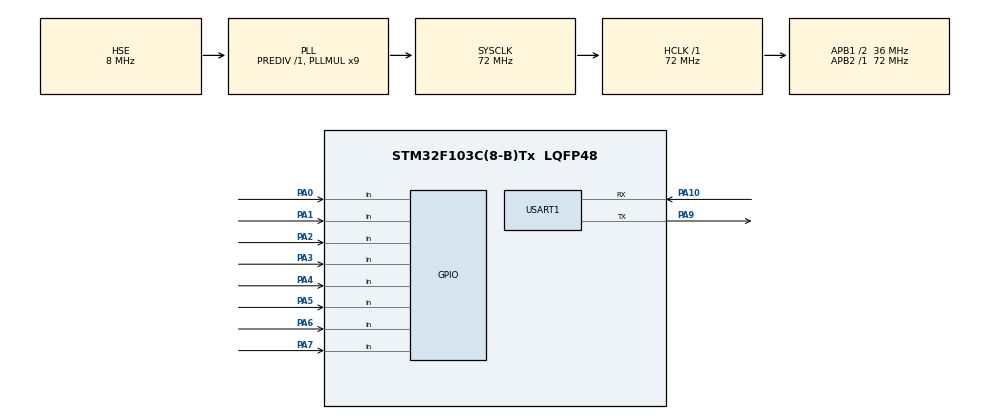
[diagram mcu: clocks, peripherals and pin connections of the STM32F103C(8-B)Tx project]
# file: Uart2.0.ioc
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Mcu.Family=STM32F1
Mcu.Name=STM32F103C(8-B)Tx
Mcu.Package=LQFP48
NVIC.PriorityGroup=NVIC_PRIORITYGROUP_4
PA0-WKUP.GPIO_PuPd=GPIO_PULLDOWN
PA0-WKUP.Signal=GPIO_Input
PA1.GPIO_PuPd=GPIO_PULLDOWN
PA1.Signal=GPIO_Input
PA10.Mode=Asynchronous
PA10.Signal=USART1_RX
PA13.Mode=Serial_Wire
PA13.Signal=SYS_JTMS-SWDIO
PA14.Mode=Serial_Wire
PA14.Signal=SYS_JTCK-SWCLK
PA2.GPIO_PuPd=GPIO_PULLDOWN
PA2.Signal=GPIO_Input
PA3.GPIO_PuPd=GPIO_PULLDOWN
PA3.Signal=GPIO_Input
PA4.GPIO_PuPd=GPIO_PULLDOWN
PA4.Signal=GPIO_Input
PA5.GPIO_PuPd=GPIO_PULLDOWN
PA5.Signal=GPIO_Input
PA6.GPIO_PuPd=GPIO_PULLDOWN
PA6.Signal=GPIO_Input
PA7.GPIO_PuPd=GPIO_PULLDOWN
PA7.Signal=GPIO_Input
PA9.Mode=Asynchronous
PA9.Signal=USART1_TX
PD0-OSC_IN.Mode=HSE-External-Oscillator
PD0-OSC_IN.Signal=RCC_OSC_IN
PD1-OSC_OUT.Mode=HSE-External-Oscillator
PD1-OSC_OUT.Signal=RCC_OSC_OUT
ProjectManager.HeapSize=0x200
ProjectManager.StackSize=0x400
ProjectManager.TargetToolchain=MDK-ARM V5.32
RCC.AHBFreq_Value=72000000
RCC.APB1CLKDivider=RCC_HCLK_DIV2
RCC.APB1Freq_Value=36000000
RCC.APB1TimFreq_Value=72000000
RCC.APB2Freq_Value=72000000
RCC.APB2TimFreq_Value=72000000
RCC.HCLKFreq_Value=72000000
RCC.PLLMUL=RCC_PLL_MUL9
RCC.PLLSourceVirtual=RCC_PLLSOURCE_HSE
RCC.SYSCLKFreq_VALUE=72000000
RCC.SYSCLKSource=RCC_SYSCLKSOURCE_PLLCLK
RCC.USBFreq_Value=72000000
USART1.VirtualMode=VM_ASYNC
board=custom

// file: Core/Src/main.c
/* USER CODE BEGIN Header */
/**
  ******************************************************************************
  * @file           : main.c
  * @brief          : Main program body
  ******************************************************************************
  * @attention
  *
  * Copyright (c) 2025 STMicroelectronics.
  * All rights reserved.
  *
  * This software is licensed under terms that can be found in the LICENSE file
  * in the root directory of this software component.
  * If no LICENSE file comes with this software, it is provided AS-IS.
  *
  ******************************************************************************
  */
/* USER CODE END Header */
#include "main.h"
#include "usart.h"
#include "gpio.h"

/* USER CODE BEGIN Includes */
#include "bsp_touchkey.h"
#include "stdio.h"
/* USER CODE END Includes */

/* USER CODE BEGIN PTD */
int __io_putchar(int ch)
{
    HAL_UART_Transmit(&huart1, (uint8_t *)&ch, 1, HAL_MAX_DELAY);
    return ch;
}
/* USER CODE END PTD */

void SystemClock_Config(void);

int main(void)
{
  /* USER CODE BEGIN 1 */
printf("TTP224 Touch Key Demo Start (HAL Library)\r\n");
  /* USER CODE END 1 */

  /* MCU Configuration--------------------------------------------------------*/

  /* Reset of all peripherals, Initializes the Flash interface and the Systick. */
  HAL_Init();

  /* Configure the system clock */
  SystemClock_Config();

  /* Initialize all configured peripherals */
  MX_GPIO_Init();
  MX_USART1_UART_Init();

  /* Infinite loop */
  /* USER CODE BEGIN WHILE */
  while (1)
  {

		// ??????1
        if(Key_IN1_Scanf() == 1)
        {
            printf("[1]-Touch!\r\n");
            HAL_Delay(300); // ????
        }

        // ??????2
        if(Key_IN2_Scanf() == 1)
        {
            printf("[2]-Touch!\r\n");
            HAL_Delay(300); // ????
        }

        // ??????3
        if(Key_IN3_Scanf() == 1)
        {
            printf("[3]-Touch!\r\n");
            HAL_Delay(300); // ????
        }

        // ??????4
        if(Key_IN4_Scanf() == 1)
        {
            printf("[4]-Touch!\r\n");
            HAL_Delay(300); // ????
        }
         // ????5
				if(Key_IN5_Scanf() == 1)
				{
						printf("[5]-Touch!\r\n");
						HAL_Delay(300); // ???
				}

				// ????6
				if(Key_IN6_Scanf() == 1)
				{
						printf("[6]-Touch!\r\n");
						HAL_Delay(300); // ???
				}

				// ????7
				if(Key_IN7_Scanf() == 1)
				{
						printf("[7]-Touch!\r\n");
						HAL_Delay(300); // ???
				}

				// ????8
				if(Key_IN8_Scanf() == 1)
				{
						printf("[8]-Touch!\r\n");
						HAL_Delay(300); // ???
				}
						HAL_Delay(50); // ?????
    /* USER CODE END WHILE */

  }
}

void SystemClock_Config(void)
{
  RCC_OscInitTypeDef RCC_OscInitStruct = {0};
  RCC_ClkInitTypeDef RCC_ClkInitStruct = {0};

  /** Initializes the RCC Oscillators according to the specified parameters
  * in the RCC_OscInitTypeDef structure.
  */
  RCC_OscInitStruct.OscillatorType = RCC_OSCILLATORTYPE_HSE;
  RCC_OscInitStruct.HSEState = RCC_HSE_ON;
  RCC_OscInitStruct.HSEPredivValue = RCC_HSE_PREDIV_DIV1;
  RCC_OscInitStruct.HSIState = RCC_HSI_ON;
  RCC_OscInitStruct.PLL.PLLState = RCC_PLL_ON;
  RCC_OscInitStruct.PLL.PLLSource = RCC_PLLSOURCE_HSE;
  RCC_OscInitStruct.PLL.PLLMUL = RCC_PLL_MUL9;
  if (HAL_RCC_OscConfig(&RCC_OscInitStruct) != HAL_OK)
  {
    Error_Handler();
  }

  /** Initializes the CPU, AHB and APB buses clocks
  */
  RCC_ClkInitStruct.ClockType = RCC_CLOCKTYPE_HCLK|RCC_CLOCKTYPE_SYSCLK
                              |RCC_CLOCKTYPE_PCLK1|RCC_CLOCKTYPE_PCLK2;
  RCC_ClkInitStruct.SYSCLKSource = RCC_SYSCLKSOURCE_PLLCLK;
  RCC_ClkInitStruct.AHBCLKDivider = RCC_SYSCLK_DIV1;
  RCC_ClkInitStruct.APB1CLKDivider = RCC_HCLK_DIV2;
  RCC_ClkInitStruct.APB2CLKDivider = RCC_HCLK_DIV1;

  if (HAL_RCC_ClockConfig(&RCC_ClkInitStruct, FLASH_LATENCY_2) != HAL_OK)
  {
    Error_Handler();
  }
}

void Error_Handler(void)
{
  __disable_irq();
  while (1)
  {
  }
}
